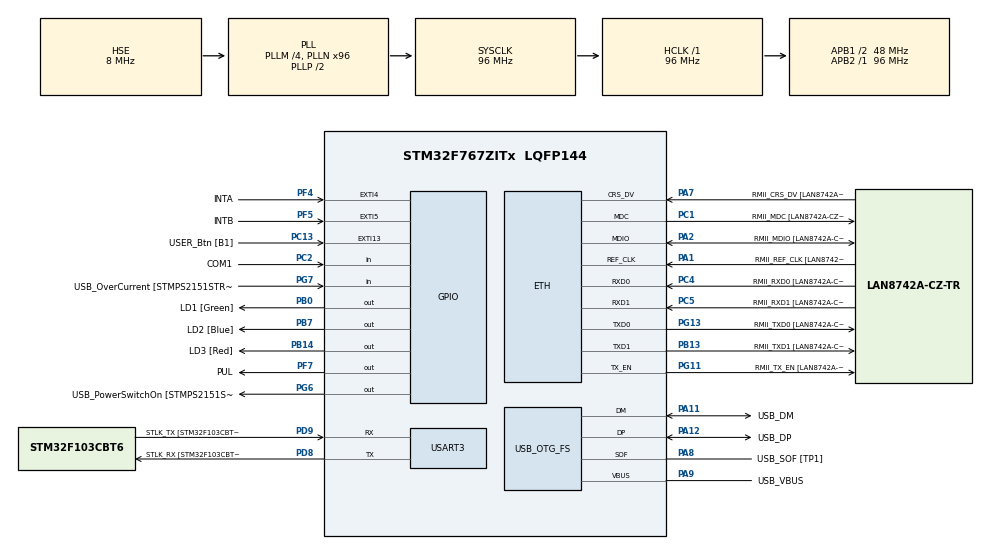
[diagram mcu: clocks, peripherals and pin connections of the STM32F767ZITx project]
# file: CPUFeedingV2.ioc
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ETH.MediaInterface=HAL_ETH_RMII_MODE
ETH.PHY_Name=LAN8742A_PHY_ADDRESS
ETH.PHY_Value=0
ETH.PhyAddress=0
Mcu.Family=STM32F7
Mcu.Name=STM32F767ZITx
Mcu.Package=LQFP144
NVIC.EXTI15_10_IRQn=true\:0\:0\:false\:false\:true\:true\:true\:true
NVIC.EXTI4_IRQn=true\:0\:0\:false\:false\:true\:true\:true\:true
NVIC.EXTI9_5_IRQn=true\:0\:0\:false\:false\:true\:true\:true\:true
NVIC.PriorityGroup=NVIC_PRIORITYGROUP_4
NVIC.TIM2_IRQn=true\:0\:0\:false\:false\:true\:true\:true\:true
PA1.GPIO_Label=RMII_REF_CLK [LAN8742A-CZ-TR_REFCLK0]
PA1.Mode=RMII
PA1.Signal=ETH_REF_CLK
PA10.GPIO_Label=USB_ID
PA10.Signal=USB_OTG_FS_ID
PA11.GPIO_Label=USB_DM
PA11.Mode=Device_Only
PA11.Signal=USB_OTG_FS_DM
PA12.GPIO_Label=USB_DP
PA12.Mode=Device_Only
PA12.Signal=USB_OTG_FS_DP
PA13.GPIO_Label=TMS
PA13.Mode=Serial_Wire
PA13.Signal=SYS_JTMS-SWDIO
PA14.GPIO_Label=TCK
PA14.Mode=Serial_Wire
PA14.Signal=SYS_JTCK-SWCLK
PA2.GPIO_Label=RMII_MDIO [LAN8742A-CZ-TR_MDIO]
PA2.Mode=RMII
PA2.Signal=ETH_MDIO
PA7.GPIO_Label=RMII_CRS_DV [LAN8742A-CZ-TR_CRS_DV]
PA7.Mode=RMII
PA7.Signal=ETH_CRS_DV
PA8.GPIO_Label=USB_SOF [TP1]
PA8.Mode=Activate_SOF_FS
PA8.Signal=USB_OTG_FS_SOF
PA9.GPIO_Label=USB_VBUS
PA9.Mode=Activate_VBUS
PA9.Signal=USB_OTG_FS_VBUS
PB0.GPIO_Label=LD1 [Green]
PB0.Signal=GPIO_Output
PB13.GPIO_Label=RMII_TXD1 [LAN8742A-CZ-TR_TXD1]
PB13.Mode=RMII
PB13.Signal=ETH_TXD1
PB14.GPIO_Label=LD3 [Red]
PB14.Signal=GPIO_Output
PB3.GPIO_Label=SWO
PB3.Signal=SYS_JTDO-SWO
PB7.GPIO_Label=LD2 [Blue]
PB7.Signal=GPIO_Output
PC1.GPIO_Label=RMII_MDC [LAN8742A-CZ-TR_MDC]
PC1.Mode=RMII
PC1.Signal=ETH_MDC
PC13.GPIO_Label=USER_Btn [B1]
PC13.Signal=GPXTI13
PC14/OSC32_IN.Mode=LSE-External-Oscillator
PC14/OSC32_IN.Signal=RCC_OSC32_IN
PC15/OSC32_OUT.Mode=LSE-External-Oscillator
PC15/OSC32_OUT.Signal=RCC_OSC32_OUT
PC2.GPIO_Label=COM1
PC2.Signal=GPIO_Input
PC4.GPIO_Label=RMII_RXD0 [LAN8742A-CZ-TR_RXD0]
PC4.Mode=RMII
PC4.Signal=ETH_RXD0
PC5.GPIO_Label=RMII_RXD1 [LAN8742A-CZ-TR_RXD1]
PC5.Mode=RMII
PC5.Signal=ETH_RXD1
PD8.GPIO_Label=STLK_RX [STM32F103CBT6_PA3]
PD8.Mode=Asynchronous
PD8.Signal=USART3_TX
PD9.GPIO_Label=STLK_TX [STM32F103CBT6_PA2]
PD9.Mode=Asynchronous
PD9.Signal=USART3_RX
PF4.GPIO_Label=INTA
PF4.Signal=GPXTI4
PF5.GPIO_Label=INTB
PF5.Signal=GPXTI5
PF7.GPIO_Label=PUL
PF7.GPIO_PuPd=GPIO_PULLDOWN
PF7.Signal=GPIO_Output
PG11.GPIO_Label=RMII_TX_EN [LAN8742A-CZ-TR_TXEN]
PG11.Mode=RMII
PG11.Signal=ETH_TX_EN
PG13.GPIO_Label=RMII_TXD0 [LAN8742A-CZ-TR_TXD0]
PG13.Mode=RMII
PG13.Signal=ETH_TXD0
PG6.GPIO_Label=USB_PowerSwitchOn [STMPS2151STR_EN]
PG6.Signal=GPIO_Output
PG7.GPIO_Label=USB_OverCurrent [STMPS2151STR_FAULT]
PG7.Signal=GPIO_Input
PH0/OSC_IN.GPIO_Label=MCO [STM32F103CBT6_PA8]
PH0/OSC_IN.Mode=HSE-External-Clock-Source
PH0/OSC_IN.Signal=RCC_OSC_IN
PH1/OSC_OUT.Mode=HSE-External-Clock-Source
PH1/OSC_OUT.Signal=RCC_OSC_OUT
ProjectManager.HeapSize=0x200
ProjectManager.StackSize=0x400
ProjectManager.TargetToolchain=STM32CubeIDE
RCC.48MHZClocksFreq_Value=24000000
RCC.AHBFreq_Value=96000000
RCC.APB1CLKDivider=RCC_HCLK_DIV2
RCC.APB1Freq_Value=48000000
RCC.APB1TimFreq_Value=96000000
RCC.APB2Freq_Value=96000000
RCC.APB2TimFreq_Value=96000000
RCC.CortexFreq_Value=96000000
RCC.HCLKFreq_Value=96000000
RCC.HSE_VALUE=8000000
RCC.HSI_VALUE=16000000
RCC.PLLM=4
RCC.PLLMUL=RCC_PLL_MUL9
RCC.PLLN=96
RCC.PLLQ=4
RCC.PRESCALERUSB=RCC_USBCLKSOURCE_PLL_DIV1_5
RCC.SYSCLKFreq_VALUE=96000000
RCC.SYSCLKSource=RCC_SYSCLKSOURCE_PLLCLK
RCC.SYSCLKSourceVirtual=RCC_SYSCLKSOURCE_PLLCLK
RCC.USBFreq_Value=48000000
RCC.VCOOutputFreq_Value=192000000
TIM2.Period=149
TIM2.Prescaler=64
USART3.VirtualMode-Asynchronous=VM_ASYNC
USB_OTG_FS.VirtualMode=Device_Only
VP_TIM2_VS_ClockSourceINT.Mode=Internal
board=NUCLEO-F767ZI

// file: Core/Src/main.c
/* USER CODE BEGIN Header */
/**
  ******************************************************************************
  * @file           : main.c
  * @brief          : Main program body
  ******************************************************************************
  * @attention
  *
  * Copyright (c) 2024 STMicroelectronics.
  * All rights reserved.
  *
  * This software is licensed under terms that can be found in the LICENSE file
  * in the root directory of this software component.
  * If no LICENSE file comes with this software, it is provided AS-IS.
  *
  ******************************************************************************
  */
/* USER CODE END Header */
#include "main.h"
#include "string.h"

/* USER CODE BEGIN Includes */
#include <math.h>

/* USER CODE END Includes */

/* USER CODE BEGIN PM */
#define SAMPLE_TIME 500

/* USER CODE END PM */

#if defined ( __ICCARM__ ) /*!< IAR Compiler */
#pragma location=0x2007c000
ETH_DMADescTypeDef  DMARxDscrTab[ETH_RX_DESC_CNT]; /* Ethernet Rx DMA Descriptors */
#pragma location=0x2007c0a0
ETH_DMADescTypeDef  DMATxDscrTab[ETH_TX_DESC_CNT]; /* Ethernet Tx DMA Descriptors */

#elif defined ( __CC_ARM )  /* MDK ARM Compiler */

__attribute__((at(0x2007c000))) ETH_DMADescTypeDef  DMARxDscrTab[ETH_RX_DESC_CNT]; /* Ethernet Rx DMA Descriptors */
__attribute__((at(0x2007c0a0))) ETH_DMADescTypeDef  DMATxDscrTab[ETH_TX_DESC_CNT]; /* Ethernet Tx DMA Descriptors */

#elif defined ( __GNUC__ ) /* GNU Compiler */

ETH_DMADescTypeDef DMARxDscrTab[ETH_RX_DESC_CNT] __attribute__((section(".RxDecripSection"))); /* Ethernet Rx DMA Descriptors */
ETH_DMADescTypeDef DMATxDscrTab[ETH_TX_DESC_CNT] __attribute__((section(".TxDecripSection")));   /* Ethernet Tx DMA Descriptors */
#endif

ETH_TxPacketConfig TxConfig;

ETH_HandleTypeDef heth;

TIM_HandleTypeDef htim2;

UART_HandleTypeDef huart3;

PCD_HandleTypeDef hpcd_USB_OTG_FS;

/* USER CODE BEGIN PV */

// Constant declaration
const double PPR_m = 800;
const double PPR_enc = 800;
const double R_feed = 45 * 1e-3;
const double R_enc = 45 * 1e-3;
const double N_f = 34;
const double N_m = 16;
const double C_pps = 10000 * 2 * M_PI * R_feed *N_f / (N_f * PPR_m);
volatile double v_feed = 0.8;

volatile uint32_t interrupt_time= 0; // unit 10^-4 seconds
volatile uint32_t encoder_counter = 0;

// PI controller
double Kp = 1;
double Ki = 1;
double prevError;
double integral;
volatile uint8_t pi_enabled = 0; // Flag to enable/disable PI regulation

/* USER CODE END PV */

void SystemClock_Config(void);
static void MX_GPIO_Init(void);
static void MX_ETH_Init(void);
static void MX_USART3_UART_Init(void);
static void MX_USB_OTG_FS_PCD_Init(void);
static void MX_TIM2_Init(void);
/* USER CODE BEGIN PFP */
void pulse();
uint32_t calculate_pulse_delay(double);
double read_feedback_speed();

/* USER CODE END PFP */

int main(void)
{

  /* MCU Configuration--------------------------------------------------------*/

  /* Reset of all peripherals, Initializes the Flash interface and the Systick. */
  HAL_Init();

  /* Configure the system clock */
  SystemClock_Config();

  /* Initialize all configured peripherals */
  MX_GPIO_Init();
  MX_ETH_Init();
  MX_USART3_UART_Init();
  MX_USB_OTG_FS_PCD_Init();
  MX_TIM2_Init();
  /* USER CODE BEGIN 2 */
  HAL_TIM_Base_Start_IT(&htim2); // Start timer with interrupt
  uint32_t last_pulse = 0;
  uint32_t pulse_delay = 10;
  uint32_t sample_time = SAMPLE_TIME;
  uint32_t last_sample = 0;
  uint32_t last_blink =0;
  uint32_t blink_delay = 10000;

  /* USER CODE END 2 */

  /* Infinite loop */
  /* USER CODE BEGIN WHILE */
  while (1)
  {
	  uint32_t current_time = interrupt_time;
	  uint32_t delta_pulse = current_time - last_pulse;
	  uint32_t delta_sample = current_time - last_sample;
	  uint32_t delta_blink = current_time - last_blink;
	  if(delta_pulse >= pulse_delay){
		  last_pulse = current_time;
		  pulse();
	  }
	  if(delta_sample >= sample_time){

		  last_sample = current_time;
		  double feedback = read_feedback_speed();
		  if (pi_enabled) {
			  double error = v_feed - feedback;
			  integral += error;
			  double output = Kp * error + Ki * integral;
			  pulse_delay = calculate_pulse_delay(output);
		  } else {
			  pulse_delay = calculate_pulse_delay(v_feed);
		  }
	  }
	  if(delta_blink >= blink_delay){
		  last_blink = current_time;
		  HAL_GPIO_TogglePin(LD3_GPIO_Port, LD3_Pin);
	  	  }

    /* USER CODE END WHILE */

  }
}

void SystemClock_Config(void)
{
  RCC_OscInitTypeDef RCC_OscInitStruct = {0};
  RCC_ClkInitTypeDef RCC_ClkInitStruct = {0};

  /** Configure LSE Drive Capability
  */
  HAL_PWR_EnableBkUpAccess();

  /** Configure the main internal regulator output voltage
  */
  __HAL_RCC_PWR_CLK_ENABLE();
  __HAL_PWR_VOLTAGESCALING_CONFIG(PWR_REGULATOR_VOLTAGE_SCALE3);

  /** Initializes the RCC Oscillators according to the specified parameters
  * in the RCC_OscInitTypeDef structure.
  */
  RCC_OscInitStruct.OscillatorType = RCC_OSCILLATORTYPE_HSE;
  RCC_OscInitStruct.HSEState = RCC_HSE_BYPASS;
  RCC_OscInitStruct.PLL.PLLState = RCC_PLL_ON;
  RCC_OscInitStruct.PLL.PLLSource = RCC_PLLSOURCE_HSE;
  RCC_OscInitStruct.PLL.PLLM = 4;
  RCC_OscInitStruct.PLL.PLLN = 96;
  RCC_OscInitStruct.PLL.PLLP = RCC_PLLP_DIV2;
  RCC_OscInitStruct.PLL.PLLQ = 4;
  RCC_OscInitStruct.PLL.PLLR = 2;
  if (HAL_RCC_OscConfig(&RCC_OscInitStruct) != HAL_OK)
  {
    Error_Handler();
  }

  /** Activate the Over-Drive mode
  */
  if (HAL_PWREx_EnableOverDrive() != HAL_OK)
  {
    Error_Handler();
  }

  /** Initializes the CPU, AHB and APB buses clocks
  */
  RCC_ClkInitStruct.ClockType = RCC_CLOCKTYPE_HCLK|RCC_CLOCKTYPE_SYSCLK
                              |RCC_CLOCKTYPE_PCLK1|RCC_CLOCKTYPE_PCLK2;
  RCC_ClkInitStruct.SYSCLKSource = RCC_SYSCLKSOURCE_PLLCLK;
  RCC_ClkInitStruct.AHBCLKDivider = RCC_SYSCLK_DIV1;
  RCC_ClkInitStruct.APB1CLKDivider = RCC_HCLK_DIV2;
  RCC_ClkInitStruct.APB2CLKDivider = RCC_HCLK_DIV1;

  if (HAL_RCC_ClockConfig(&RCC_ClkInitStruct, FLASH_LATENCY_3) != HAL_OK)
  {
    Error_Handler();
  }
}

static void MX_ETH_Init(void)
{

   static uint8_t MACAddr[6];

  heth.Instance = ETH;
  MACAddr[0] = 0x00;
  MACAddr[1] = 0x80;
  MACAddr[2] = 0xE1;
  MACAddr[3] = 0x00;
  MACAddr[4] = 0x00;
  MACAddr[5] = 0x00;
  heth.Init.MACAddr = &MACAddr[0];
  heth.Init.MediaInterface = HAL_ETH_RMII_MODE;
  heth.Init.TxDesc = DMATxDscrTab;
  heth.Init.RxDesc = DMARxDscrTab;
  heth.Init.RxBuffLen = 1524;

  if (HAL_ETH_Init(&heth) != HAL_OK)
  {
    Error_Handler();
  }

  memset(&TxConfig, 0 , sizeof(ETH_TxPacketConfig));
  TxConfig.Attributes = ETH_TX_PACKETS_FEATURES_CSUM | ETH_TX_PACKETS_FEATURES_CRCPAD;
  TxConfig.ChecksumCtrl = ETH_CHECKSUM_IPHDR_PAYLOAD_INSERT_PHDR_CALC;
  TxConfig.CRCPadCtrl = ETH_CRC_PAD_INSERT;

}

static void MX_TIM2_Init(void)
{

  TIM_ClockConfigTypeDef sClockSourceConfig = {0};
  TIM_MasterConfigTypeDef sMasterConfig = {0};

  htim2.Instance = TIM2;
  htim2.Init.Prescaler = 64;
  htim2.Init.CounterMode = TIM_COUNTERMODE_UP;
  htim2.Init.Period = 149;
  htim2.Init.ClockDivision = TIM_CLOCKDIVISION_DIV1;
  htim2.Init.AutoReloadPreload = TIM_AUTORELOAD_PRELOAD_DISABLE;
  if (HAL_TIM_Base_Init(&htim2) != HAL_OK)
  {
    Error_Handler();
  }
  sClockSourceConfig.ClockSource = TIM_CLOCKSOURCE_INTERNAL;
  if (HAL_TIM_ConfigClockSource(&htim2, &sClockSourceConfig) != HAL_OK)
  {
    Error_Handler();
  }
  sMasterConfig.MasterOutputTrigger = TIM_TRGO_RESET;
  sMasterConfig.MasterSlaveMode = TIM_MASTERSLAVEMODE_DISABLE;
  if (HAL_TIMEx_MasterConfigSynchronization(&htim2, &sMasterConfig) != HAL_OK)
  {
    Error_Handler();
  }

}

static void MX_USART3_UART_Init(void)
{

  huart3.Instance = USART3;
  huart3.Init.BaudRate = 115200;
  huart3.Init.WordLength = UART_WORDLENGTH_8B;
  huart3.Init.StopBits = UART_STOPBITS_1;
  huart3.Init.Parity = UART_PARITY_NONE;
  huart3.Init.Mode = UART_MODE_TX_RX;
  huart3.Init.HwFlowCtl = UART_HWCONTROL_NONE;
  huart3.Init.OverSampling = UART_OVERSAMPLING_16;
  huart3.Init.OneBitSampling = UART_ONE_BIT_SAMPLE_DISABLE;
  huart3.AdvancedInit.AdvFeatureInit = UART_ADVFEATURE_NO_INIT;
  if (HAL_UART_Init(&huart3) != HAL_OK)
  {
    Error_Handler();
  }

}

static void MX_USB_OTG_FS_PCD_Init(void)
{

  hpcd_USB_OTG_FS.Instance = USB_OTG_FS;
  hpcd_USB_OTG_FS.Init.dev_endpoints = 6;
  hpcd_USB_OTG_FS.Init.speed = PCD_SPEED_FULL;
  hpcd_USB_OTG_FS.Init.dma_enable = DISABLE;
  hpcd_USB_OTG_FS.Init.phy_itface = PCD_PHY_EMBEDDED;
  hpcd_USB_OTG_FS.Init.Sof_enable = ENABLE;
  hpcd_USB_OTG_FS.Init.low_power_enable = DISABLE;
  hpcd_USB_OTG_FS.Init.lpm_enable = DISABLE;
  hpcd_USB_OTG_FS.Init.vbus_sensing_enable = ENABLE;
  hpcd_USB_OTG_FS.Init.use_dedicated_ep1 = DISABLE;
  if (HAL_PCD_Init(&hpcd_USB_OTG_FS) != HAL_OK)
  {
    Error_Handler();
  }

}

static void MX_GPIO_Init(void)
{
  GPIO_InitTypeDef GPIO_InitStruct = {0};

  /* GPIO Ports Clock Enable */
  __HAL_RCC_GPIOC_CLK_ENABLE();
  __HAL_RCC_GPIOF_CLK_ENABLE();
  __HAL_RCC_GPIOH_CLK_ENABLE();
  __HAL_RCC_GPIOA_CLK_ENABLE();
  __HAL_RCC_GPIOB_CLK_ENABLE();
  __HAL_RCC_GPIOD_CLK_ENABLE();
  __HAL_RCC_GPIOG_CLK_ENABLE();

  /*Configure GPIO pin Output Level */
  HAL_GPIO_WritePin(PUL_GPIO_Port, PUL_Pin, GPIO_PIN_RESET);

  /*Configure GPIO pin Output Level */
  HAL_GPIO_WritePin(GPIOB, LD1_Pin|LD3_Pin|LD2_Pin, GPIO_PIN_RESET);

  /*Configure GPIO pin Output Level */
  HAL_GPIO_WritePin(USB_PowerSwitchOn_GPIO_Port, USB_PowerSwitchOn_Pin, GPIO_PIN_RESET);

  /*Configure GPIO pin : USER_Btn_Pin */
  GPIO_InitStruct.Pin = USER_Btn_Pin;
  GPIO_InitStruct.Mode = GPIO_MODE_IT_RISING;
  GPIO_InitStruct.Pull = GPIO_NOPULL;
  HAL_GPIO_Init(USER_Btn_GPIO_Port, &GPIO_InitStruct);

  /*Configure GPIO pins : INTA_Pin INTB_Pin */
  GPIO_InitStruct.Pin = INTA_Pin|INTB_Pin;
  GPIO_InitStruct.Mode = GPIO_MODE_IT_RISING;
  GPIO_InitStruct.Pull = GPIO_NOPULL;
  HAL_GPIO_Init(GPIOF, &GPIO_InitStruct);

  /*Configure GPIO pin : PUL_Pin */
  GPIO_InitStruct.Pin = PUL_Pin;
  GPIO_InitStruct.Mode = GPIO_MODE_OUTPUT_PP;
  GPIO_InitStruct.Pull = GPIO_PULLDOWN;
  GPIO_InitStruct.Speed = GPIO_SPEED_FREQ_LOW;
  HAL_GPIO_Init(PUL_GPIO_Port, &GPIO_InitStruct);

  /*Configure GPIO pin : COM1_Pin */
  GPIO_InitStruct.Pin = COM1_Pin;
  GPIO_InitStruct.Mode = GPIO_MODE_INPUT;
  GPIO_InitStruct.Pull = GPIO_NOPULL;
  HAL_GPIO_Init(COM1_GPIO_Port, &GPIO_InitStruct);

  /*Configure GPIO pins : LD1_Pin LD3_Pin LD2_Pin */
  GPIO_InitStruct.Pin = LD1_Pin|LD3_Pin|LD2_Pin;
  GPIO_InitStruct.Mode = GPIO_MODE_OUTPUT_PP;
  GPIO_InitStruct.Pull = GPIO_NOPULL;
  GPIO_InitStruct.Speed = GPIO_SPEED_FREQ_LOW;
  HAL_GPIO_Init(GPIOB, &GPIO_InitStruct);

  /*Configure GPIO pin : USB_PowerSwitchOn_Pin */
  GPIO_InitStruct.Pin = USB_PowerSwitchOn_Pin;
  GPIO_InitStruct.Mode = GPIO_MODE_OUTPUT_PP;
  GPIO_InitStruct.Pull = GPIO_NOPULL;
  GPIO_InitStruct.Speed = GPIO_SPEED_FREQ_LOW;
  HAL_GPIO_Init(USB_PowerSwitchOn_GPIO_Port, &GPIO_InitStruct);

  /*Configure GPIO pin : USB_OverCurrent_Pin */
  GPIO_InitStruct.Pin = USB_OverCurrent_Pin;
  GPIO_InitStruct.Mode = GPIO_MODE_INPUT;
  GPIO_InitStruct.Pull = GPIO_NOPULL;
  HAL_GPIO_Init(USB_OverCurrent_GPIO_Port, &GPIO_InitStruct);

  /* EXTI interrupt init*/
  HAL_NVIC_SetPriority(EXTI4_IRQn, 0, 0);
  HAL_NVIC_EnableIRQ(EXTI4_IRQn);

  HAL_NVIC_SetPriority(EXTI9_5_IRQn, 0, 0);
  HAL_NVIC_EnableIRQ(EXTI9_5_IRQn);

  HAL_NVIC_SetPriority(EXTI15_10_IRQn, 0, 0);
  HAL_NVIC_EnableIRQ(EXTI15_10_IRQn);

}

/* USER CODE BEGIN 4 */
// Timer interrupt callback
void HAL_TIM_PeriodElapsedCallback(TIM_HandleTypeDef *htim) {
    if (htim->Instance == TIM2) {
    	interrupt_time++;
    }
}

void pulse() {
	if(!HAL_GPIO_ReadPin(COM1_GPIO_Port, COM1_Pin)){
	    HAL_GPIO_WritePin(PUL_GPIO_Port, PUL_Pin,GPIO_PIN_SET); // Set pulse pin high
	    uint32_t start = interrupt_time;
	    while ((interrupt_time - start) < 1); // Wait ( one tick is 0.1 ms)
	    HAL_GPIO_WritePin(PUL_GPIO_Port, PUL_Pin, GPIO_PIN_RESET); // Set pulse pin low
	}
}

uint32_t calculate_pulse_delay(double v_feed)
{
	double pulse_delay =  (1 / v_feed) * C_pps;
    return (uint32_t)pulse_delay;
}

void HAL_GPIO_EXTI_Callback(uint16_t GPIO_Pin)
{
  /* Prevent unused argument(s) compilation warning */
  UNUSED(GPIO_Pin);
  if(GPIO_Pin == USER_Btn_Pin){
	  HAL_GPIO_TogglePin(LD2_GPIO_Port, LD2_Pin);
	  pi_enabled = !pi_enabled; // Toggle the PI regulation flag
  }
  if(GPIO_Pin == INTA_Pin){
	int8_t encoder_direction;

	// Determine direction of rotation by checking state of INTB
	if (HAL_GPIO_ReadPin(GPIOF, INTB_Pin) == GPIO_PIN_SET)
	{
		encoder_direction = 1; // Clockwise rotation
	}
	else
	{
		encoder_direction = -1; // Counter-clockwise rotation
	}
	encoder_counter += encoder_direction;
	}

}

// Calculate the actual feed speed
double read_feedback_speed()
{
    double vFeedActual = 0.0;
    if (encoder_counter != 0)
    {
        vFeedActual = 2 * M_PI * R_enc * PPR_enc * SAMPLE_TIME * 1e-3 / (60 * encoder_counter);
    }
    encoder_counter = 0;
    return vFeedActual;
}

/* USER CODE END 4 */

void Error_Handler(void)
{
  __disable_irq();
  while (1)
  {
  }
}
